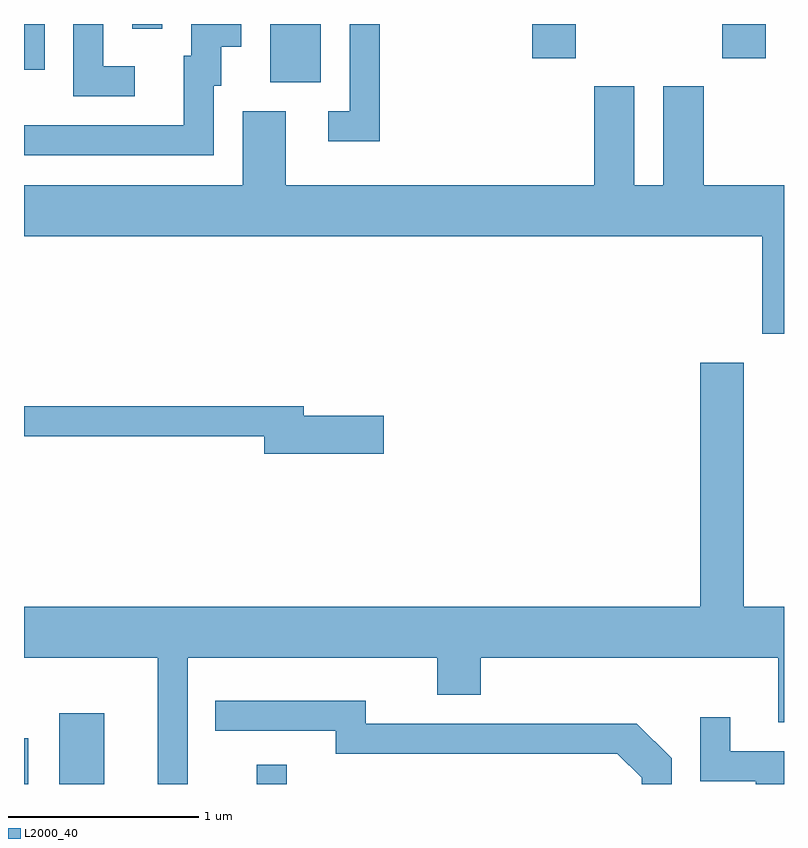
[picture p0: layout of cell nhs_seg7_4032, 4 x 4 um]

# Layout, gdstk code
import gdstk
lib = gdstk.Library(unit=1e-6, precision=1e-09)
def R(c, l, rs):  # rectangles x0, y0, x1, y1
    for r in rs: c.add(gdstk.rectangle(r[:2], r[2:], *l))
def P(c, l, *ps):  # polygons
    for p in ps: c.add(gdstk.Polygon(p, *l))
L2000_40 = (2000, 40)

nhs_seg7_4032 = lib.new_cell('nhs_seg7_4032')
R(nhs_seg7_4032, L2000_40, [(307.611,1780.252,307.634,1780.494), (307.796,1780.252,308.034,1780.624), (308.836,1780.252,308.994,1780.353), (308.906,1783.946,309.174,1784.252), (307.611,1784.011,307.719,1784.252), (310.286,1784.071,310.514,1784.252), (311.286,1784.071,311.514,1784.252), (308.181,1784.228,308.339,1784.252)])
P(nhs_seg7_4032, L2000_40, [(308.193,1784.029),(308.029,1784.029),(308.029,1784.252),(307.871,1784.252),(307.871,1783.871),(308.193,1783.871)],
  [(308.609,1783.926),(308.649,1783.926),(308.649,1784.131),(308.754,1784.131),(308.754,1784.252),(308.491,1784.252),(308.491,1784.084),(308.451,1784.084),(308.451,1783.719),(307.611,1783.719),(307.611,1783.561),(308.609,1783.561)],
  [(309.484,1784.252),(309.326,1784.252),(309.326,1783.794),(309.213,1783.794),(309.213,1783.636),(309.484,1783.636)],
  [(311.496,1782.621),(311.611,1782.621),(311.611,1783.404),(311.189,1783.404),(311.189,1783.924),(310.976,1783.924),(310.976,1783.404),(310.824,1783.404),(310.824,1783.924),(310.611,1783.924),(310.611,1783.404),(308.989,1783.404),(308.989,1783.794),(308.761,1783.794),(308.761,1783.404),(307.611,1783.404),(307.611,1783.136),(311.496,1783.136)],
  [(308.474,1780.916),(309.786,1780.916),(309.786,1780.721),(310.014,1780.721),(310.014,1780.916),(311.581,1780.916),(311.581,1780.576),(311.611,1780.576),(311.611,1781.184),(311.399,1781.184),(311.399,1782.469),(311.171,1782.469),(311.171,1781.184),(307.611,1781.184),(307.611,1780.916),(308.316,1780.916),(308.316,1780.252),(308.474,1780.252)],
  [(309.504,1782.189),(309.084,1782.189),(309.084,1782.239),(307.611,1782.239),(307.611,1782.081),(308.876,1782.081),(308.876,1781.991),(309.504,1781.991)],
  [(311.019,1780.387),(310.837,1780.569),(309.409,1780.569),(309.409,1780.689),(308.618,1780.689),(308.618,1780.531),(309.251,1780.531),(309.251,1780.411),(310.734,1780.411),(310.861,1780.284),(310.861,1780.252),(311.019,1780.252)],
  [(311.611,1780.424),(311.329,1780.424),(311.329,1780.603),(311.171,1780.603),(311.171,1780.266),(311.461,1780.266),(311.461,1780.252),(311.611,1780.252)])

lib.write_gds('nhs_seg7_4032.gds')
